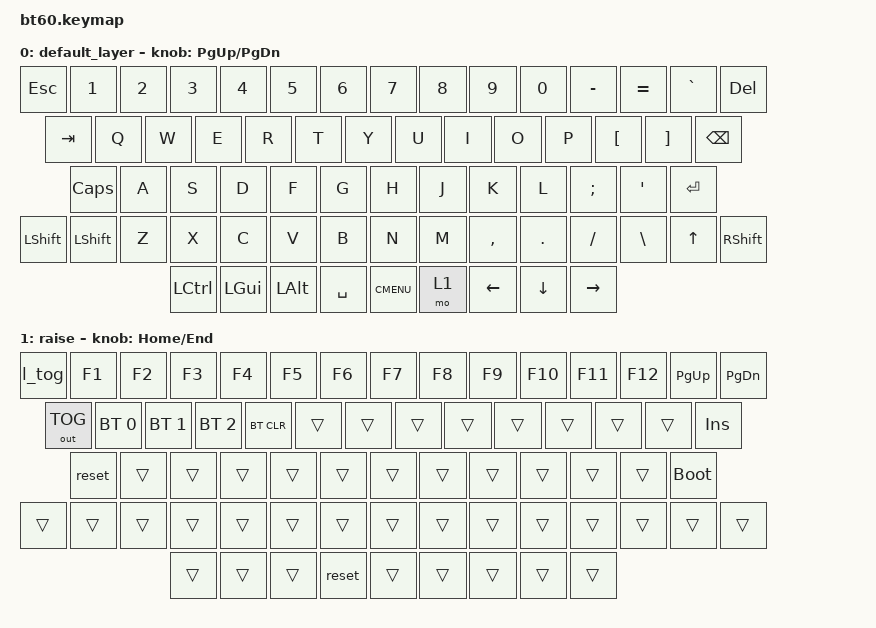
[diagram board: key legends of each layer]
#include <behaviors.dtsi>
#include <dt-bindings/zmk/keys.h>
#include <dt-bindings/zmk/bt.h>
#include <dt-bindings/zmk/rgb.h>
#include <dt-bindings/zmk/backlight.h>
#include <dt-bindings/zmk/outputs.h>

/ {
    macros {
        l_tog: l_tog {
            label = "ZM_light_toggle";
            compatible = "zmk,behavior-macro";
            #binding-cells = <0>;
            bindings
                = <&macro_tap &rgb_ug RGB_TOG &bl BL_TOG>
                ;
        };
	l_f: l_f {
            label = "ZM_light_forward";
            compatible = "zmk,behavior-macro";
            #binding-cells = <0>;
            bindings
                = <&macro_tap &rgb_ug RGB_BRI &bl BL_INC>
                ;
        };
	l_r: l_r {
            label = "ZM_light_reverse";
            compatible = "zmk,behavior-macro";
            #binding-cells = <0>;
            bindings
                = <&macro_tap &rgb_ug RGB_BRD &bl BL_DEC>
                ;
        };
    };
};

/* Modified Layout */
/ {
	keymap {
		compatible = "zmk,keymap";

		default_layer {
				// ------------------------------------------------------------------------------------------
				// | ESC |  1  |  2  |  3  |  4  |  5  |  6  |  7  |  8  |  9  |  0  |  -  |  =  |  |  |  ~   |
				// | TAB  |  Q  |  W  |  E  |  R  |  T  |  Y  |  U  |  I  |  O  |  P  |  [  |  ]  |  BSPC     |
				// | CAPS  |  A  |  S  |  D  |  F  |  G  |  H  |  J  |  K  |  L  |  ;  |  '  |     ENTER      |
				// |  SHIFT|NONE|  Z  |  X  |  C  |  V  |  B  |  N  |  M  |  ,  |  .  | /   | SHFT | UP |PRIN |
				// |  CTL  |  WIN  |  ALT  |            SPACE              | ALT | CTRL | LEFT | DOWN | RIGHT |
				// ------------------------------------------------------------------------------------------
			bindings = <
				&kp ESC &kp N1 &kp N2 &kp N3 &kp N4 &kp N5 &kp N6 &kp N7 &kp  N8   &kp  N9 &kp  N0  &kp MINUS &kp EQUAL &kp GRAVE &kp DEL
				&kp TAB  &kp Q  &kp W  &kp E  &kp R  &kp T  &kp Y  &kp U  &kp  I    &kp  O  &kp  P   &kp LBKT &kp RBKT  &kp BSPC
				&kp CLCK  &kp A  &kp S  &kp D  &kp F  &kp G  &kp H  &kp J  &kp  K    &kp  L  &kp SEMI &kp SQT           &kp RET
				&kp LSHFT &kp LSHFT  &kp Z  &kp X  &kp C  &kp V  &kp B  &kp N  &kp M  &kp COMMA &kp DOT &kp FSLH    &kp BSLH  &kp UP   &kp RSHIFT
				&kp LCTRL &kp LGUI &kp LALT            &kp SPACE                          &kp K_CMENU  &mo 1    &kp LEFT &kp DOWN &kp RIGHT
			>;
			sensor-bindings = <&inc_dec_kp PG_UP PG_DN>;
		};
		raise {
			bindings = <
				&l_tog &kp F1 &kp F2 &kp F3 &kp F4 &kp F5 &kp F6 &kp F7 &kp  F8   &kp  F9 &kp  F10  &kp F11 &kp F12   &kp PG_UP &kp PG_DN
				&out OUT_TOG &bt BT_SEL 0 &bt BT_SEL 1 &bt BT_SEL 2 &bt BT_CLR &trans &trans &trans &trans &trans &trans &trans &trans &kp INS
				&reset    &trans &trans &trans &trans &trans &trans &trans &trans &trans &trans  &trans   &bootloader
				&trans &trans &trans &trans &trans &trans &trans &trans &trans &trans &trans &trans &trans &trans &trans
				&trans &trans  &trans              &reset                            &trans &trans &trans &trans &trans
			>;
			sensor-bindings = <&inc_dec_kp HOME END>;
		};
	};
};

/* Default Layout for Backup Purposes
/ {
	keymap {
		compatible = "zmk,keymap";

		default_layer {
				// ------------------------------------------------------------------------------------------
				// | ESC |  1  |  2  |  3  |  4  |  5  |  6  |  7  |  8  |  9  |  0  |  -  |  =  |BKSP | DEL |
				// | TAB  |  Q  |  W  |  E  |  R  |  T  |  Y  |  U  |  I  |  O  |  P  |  [  |  ]  |  |   |
				// | CAPS  |  A  |  S  |  D  |  F  |  G  |  H  |  J  |  K  |  L  |  ;  |  '  |     ENTER    |
				// |  SHIFT|NONE|  Z  |  X  |  C  |  V  |  B  |  N  |  M  |  ,  |  .  | /   | SHFT | UP | 1  |
				// |  CTL  |  WIN  |  ALT  |            SPACE              | ALT | CTRL | LEFT | DOWN | RIGHT |
				// ------------------------------------------------------------------------------------------
			bindings = <
				&kp ESC &kp N1 &kp N2 &kp N3 &kp N4 &kp N5 &kp N6 &kp N7 &kp  N8   &kp  N9 &kp  N0  &kp MINUS &kp EQUAL &kp BSPC &kp DEL
				&kp TAB  &kp Q  &kp W  &kp E  &kp R  &kp T  &kp Y  &kp U  &kp  I    &kp  O  &kp  P   &kp LBKT &kp RBKT  &kp BSLH
				&kp CLCK  &kp A  &kp S  &kp D  &kp F  &kp G  &kp H  &kp J  &kp  K    &kp  L  &kp SEMI &kp SQT           &kp RET
				&kp LSHFT &none  &kp Z  &kp X  &kp C  &kp V  &kp B  &kp N  &kp M  &kp COMMA &kp DOT &kp FSLH    &kp RSHFT &kp UP   &mo 1
				&kp LCTRL &kp LGUI &kp LALT            &kp SPACE                          &kp RALT  &kp RCTRL &kp LEFT &kp DOWN &kp RIGHT
			>;
			sensor-bindings = <&inc_dec_kp C_VOL_UP C_VOL_DN>;
		};
		raise {
			bindings = <
				&kp GRAVE &kp F1 &kp F2 &kp F3 &kp F4 &kp F5 &kp F6 &kp F7 &kp  F8   &kp  F9 &kp  F10  &kp F11 &kp F12   &trans &trans
				&trans &trans &kp UP &trans &trans &trans &trans &trans &kp INS &trans &kp PSCRN &kp SLCK &kp PAUSE_BREAK &reset
				&trans    &kp LEFT &kp DOWN &kp RIGHT &trans &trans &trans &trans &trans &trans &kp HOME  &kp PG_UP   &bootloader
				&kp C_PREV &none &kp C_VOL_DN &kp C_VOL_UP &kp C_MUTE &trans &trans &trans &trans &trans &trans &trans &kp END &kp PG_DN  &kp C_NEXT &trans
				&bt BT_PRV &bt BT_NXT  &trans              &trans                            &trans  &trans &rgb_ug RGB_TOG   &bl BL_TOG &bt BT_CLR
			>;
			sensor-bindings = <&inc_dec_kp C_VOL_UP C_VOL_DN>;
		};
	};
};
*/
